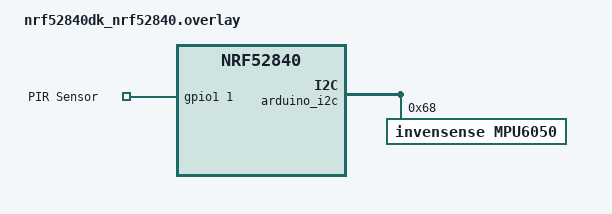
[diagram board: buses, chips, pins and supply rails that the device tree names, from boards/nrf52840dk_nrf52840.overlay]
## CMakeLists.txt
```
# SPDX-License-Identifier: MIT
cmake_minimum_required(VERSION 3.20)
find_package(Zephyr REQUIRED HINTS $ENV{ZEPHYR_BASE})
project(bthome_full_node)
target_sources(app PRIVATE src/main.c)
```

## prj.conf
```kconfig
# ── Bluetooth ──────────────────────────────────────────────────────────────
CONFIG_BT=y
CONFIG_BT_PERIPHERAL=y
CONFIG_BT_DEVICE_NAME="MAKE-BThome"

# ── BThome V2 library ───────────────────────────────────────────────────────
CONFIG_BTHOME_V2=y

# ── Sensor framework ────────────────────────────────────────────────────────
CONFIG_SENSOR=y
CONFIG_I2C=y

# ── nRF52 internal die-temperature sensor ───────────────────────────────────
CONFIG_TEMP_NRF5=y

# ── IMU: select ONE depending on hardware (see board-specific .conf files) ──
# CONFIG_MPU6050=y     # nRF52840-DK + MPU-6050 breakout
# CONFIG_LSM6DSL=y     # Seeed XIAO nRF52840 Sense (LSM6DS3 = LSM6DSL-compatible)

# ── GPIO ────────────────────────────────────────────────────────────────────
CONFIG_GPIO=y

# ── Logging ─────────────────────────────────────────────────────────────────
CONFIG_LOG=y
CONFIG_LOG_DEFAULT_LEVEL=3

# ── Stack sizes ─────────────────────────────────────────────────────────────
CONFIG_MAIN_STACK_SIZE=2048
CONFIG_BT_RX_STACK_SIZE=1024
```

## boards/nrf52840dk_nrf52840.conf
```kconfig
# nRF52840-DK board-specific config for bthome_full_node
# IMU: MPU-6050 breakout connected via Arduino-I2C header (SDA=P0.26, SCL=P0.27)
CONFIG_MPU6050=y
```

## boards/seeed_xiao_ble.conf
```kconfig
# Seeed XIAO nRF52840 board-specific config for bthome_full_node
#
# The XIAO nRF52840 has NO external 32.768 kHz crystal.
# Use the internal RC oscillator (LFRC) for BLE — mandatory!
CONFIG_CLOCK_CONTROL_NRF_K32SRC_RC=y
CONFIG_CLOCK_CONTROL_NRF_K32SRC_ACCURACY_500=y

# IMU: LSM6DS3 on XIAO Sense is LSM6DSL-compatible
# (only available on the "Sense" variant)
CONFIG_LSM6DSL=y
```

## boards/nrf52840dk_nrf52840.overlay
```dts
/* SPDX-License-Identifier: MIT */
/*
 * bthome_full_node overlay for nRF52840-DK
 *
 * Hardware assumptions:
 *   I2C IMU  : MPU-6050 breakout @ 0x68 on Arduino-I2C header
 *              (SDA = P0.26 / Arduino A4, SCL = P0.27 / Arduino A5)
 *   PIR GPIO : Signal pin → P1.01 (Arduino D0), power via 3.3 V header
 */

/* ── MPU-6050 on the Arduino-compatible I2C bus (i2c0) ─────────────────── */
&arduino_i2c {
	mpu6050: mpu6050@68 {
		compatible = "invensense,mpu6050";
		reg = <0x68>;
		status = "okay";
	};
};

/* ── PIR sensor GPIO ────────────────────────────────────────────────────── */
/ {
	pir_inputs: pir_inputs {
		compatible = "gpio-keys";
		pir0: pir_0 {
			gpios = <&gpio1 1 (GPIO_ACTIVE_HIGH | GPIO_PULL_DOWN)>;
			label = "PIR Sensor";
		};
	};

	aliases {
		imu       = &mpu6050;
		pir-sensor = &pir0;
	};
};
```

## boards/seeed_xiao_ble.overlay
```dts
/* SPDX-License-Identifier: MIT */
/*
 * bthome_full_node overlay for Seeed XIAO nRF52840 (and Sense variant)
 *
 * Hardware assumptions:
 *   I2C IMU  : LSM6DS3 (LSM6DSL-compatible) @ 0x6A on i2c0
 *              (SDA = P0.05, SCL = P0.04 — XIAO hardware I2C)
 *   PIR GPIO : Signal pin → P0.29 (XIAO pin D3), active-high with pull-down
 *
 * Note: The LSM6DS3 is only present on the "Sense" variant of the XIAO.
 *       On the plain XIAO nRF52840 (Plus), remove the lsm6dsl node and
 *       disable CONFIG_LSM6DSL in the board .conf.
 */

/* ── LSM6DS3 on i2c0 ────────────────────────────────────────────────────── */
&i2c0 {
	status = "okay";

	lsm6dsl: lsm6dsl@6a {
		compatible = "st,lsm6dsl";
		reg = <0x6a>;
		irq-gpios = <&gpio0 3 GPIO_ACTIVE_HIGH>;
		status = "okay";
	};
};

/* ── PIR sensor GPIO ────────────────────────────────────────────────────── */
/ {
	pir_inputs: pir_inputs {
		compatible = "gpio-keys";
		pir0: pir_0 {
			gpios = <&gpio0 29 (GPIO_ACTIVE_HIGH | GPIO_PULL_DOWN)>;
			label = "PIR Sensor";
		};
	};

	aliases {
		imu        = &lsm6dsl;
		pir-sensor = &pir0;
	};
};
```

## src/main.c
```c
/* SPDX-License-Identifier: MIT */
/*
 * Copyright (c) 2026 Daniel Glaser
 *
 * BThome V2 Full-Node Sample
 * ==========================
 * Combines three sensor sources into one BThome V2 BLE advertisement:
 *
 *  1. Die temperature   — nRF52840 internal temperature sensor (always present)
 *  2. 6-axis IMU        — MPU-6050 (nRF52840-DK) or LSM6DS3/LSM6DSL (XIAO Sense)
 *                         Advertises acceleration and gyroscope magnitude.
 *  3. PIR motion sensor — GPIO binary sensor (active-high, DT alias "pir-sensor")
 *
 * The device advertises a new BThome V2 packet every ADVERT_INTERVAL_SEC seconds.
 *
 * Build (nRF52840-DK with MPU-6050 breakout):
 *   west build -b nrf52840dk/nrf52840 samples/bthome_full_node
 *
 * Build (Seeed XIAO nRF52840 Sense):
 *   west build -b seeed_xiao_ble/nrf52840 samples/bthome_full_node
 *
 * Verify with bthome-logger:
 *   uv tool install bthome-logger && bthome-logger -f "MAKE"
 */

#include <zephyr/kernel.h>
#include <zephyr/logging/log.h>
#include <zephyr/bluetooth/bluetooth.h>
#include <zephyr/bluetooth/hci.h>
#include <zephyr/drivers/gpio.h>
#include <zephyr/drivers/sensor.h>

#include <bthome_v2/bthome_v2.h>

LOG_MODULE_REGISTER(bthome_node, LOG_LEVEL_INF);

/* ── Timing ──────────────────────────────────────────────────────────────── */
#define ADVERT_INTERVAL_SEC  10

/* ── BLE advertising parameters (non-connectable, undirected) ────────────── */
static const struct bt_le_adv_param adv_param =
	BT_LE_ADV_PARAM_INIT(BT_LE_ADV_OPT_USE_IDENTITY,
			     BT_GAP_ADV_SLOW_INT_MIN,
			     BT_GAP_ADV_SLOW_INT_MAX,
			     NULL);

/* ── BThome V2 context ───────────────────────────────────────────────────── */
static struct bthome_v2_ctx bthome;

/* ── Advertising data array (flags + complete name + service data) ─────────── */
static struct bt_data ad[3];

/* ── Packet counter (incremented each advertisement) ────────────────────── */
static uint8_t pkt_id;

/* ── Devices ─────────────────────────────────────────────────────────────── */

/* Internal die temperature sensor (always present on nRF52840) */
#if DT_HAS_COMPAT_STATUS_OKAY(nordic_nrf_temp)
static const struct device *die_temp_dev =
	DEVICE_DT_GET_ONE(nordic_nrf_temp);
#else
static const struct device *die_temp_dev;
#endif

/* IMU — resolved via DT alias "imu" set in board overlays */
#if DT_NODE_HAS_STATUS(DT_ALIAS(imu), okay)
static const struct device *imu_dev =
	DEVICE_DT_GET(DT_ALIAS(imu));
#define HAS_IMU 1
#else
static const struct device *imu_dev;
#define HAS_IMU 0
#endif

/* PIR sensor GPIO — resolved via DT alias "pir-sensor".
 * Note: DT_ALIAS() converts underscores to hyphens per Zephyr convention,
 * so DT_ALIAS(pir_sensor) correctly resolves the "pir-sensor" alias defined
 * in the board overlay files.
 */
#if DT_NODE_HAS_STATUS(DT_ALIAS(pir_sensor), okay)
static const struct gpio_dt_spec pir =
	GPIO_DT_SPEC_GET(DT_ALIAS(pir_sensor), gpios);
#define HAS_PIR 1
#else
#define HAS_PIR 0
#endif

/* ── Helpers ─────────────────────────────────────────────────────────────── */

/**
 * @brief Convert Zephyr sensor_value to BThome temperature (0.01 °C).
 *
 * sensor_value carries the integer part in .val1 and micro-fractions in .val2.
 * For temperature, .val2 is in µ°C (1/1 000 000 °C).
 * BThome 0x02 uses 0.01 °C → multiply val1 by 100, val2 by 100/1 000 000.
 */
static int16_t sv_to_temp_cdegc(const struct sensor_value *sv)
{
	return (int16_t)(sv->val1 * 100 + sv->val2 / 10000);
}

/**
 * @brief Convert Zephyr sensor_value acceleration (m/s²) to BThome unit
 *        (0.001 m/s² → store as mm/s²).
 */
static uint16_t sv_to_accel_mms2(const struct sensor_value *sv)
{
	int32_t mm = sv->val1 * 1000 + sv->val2 / 1000;

	return (uint16_t)(mm < 0 ? -mm : mm);
}

/**
 * @brief Convert Zephyr sensor_value gyroscope (rad/s) to BThome unit
 *        (0.001 °/s).
 *
 * Zephyr gyro channels use rad/s.  BThome 0x52 uses 0.001 °/s.
 * 1 rad/s ≈ 57295 m°/s → scale val1 and val2 accordingly.
 */
static uint16_t sv_to_gyro_mdegps(const struct sensor_value *sv)
{
	/* Convert rad/s → m°/s: multiply by 57295 (= 1000 * 180/π) */
	int32_t mdeg = sv->val1 * 57295 + (int32_t)(sv->val2 / 1000) * 57 / 1000;

	return (uint16_t)(mdeg < 0 ? -mdeg : mdeg);
}

/* ── Sensor read & advertise ─────────────────────────────────────────────── */

static void update_advertisement(void)
{
	int ret;

	bthome_v2_clear(&bthome);
	bthome_v2_add_packet_id(&bthome, pkt_id++);

	/* ── 1. Die temperature ─────────────────────────────────────────── */
	if (die_temp_dev && device_is_ready(die_temp_dev)) {
		struct sensor_value temp_sv;

		ret = sensor_sample_fetch(die_temp_dev);
		if (ret == 0) {
			ret = sensor_channel_get(die_temp_dev,
						 SENSOR_CHAN_DIE_TEMP,
						 &temp_sv);
		}
		if (ret == 0) {
			int16_t temp = sv_to_temp_cdegc(&temp_sv);

			bthome_v2_add_temperature(&bthome, temp);
			LOG_INF("Die temp: %d.%02d °C",
				temp / 100, (int)(temp < 0 ? -temp : temp) % 100);
		} else {
			LOG_WRN("Die temp read failed: %d", ret);
		}
	}

	/* ── 2. IMU ─────────────────────────────────────────────────────── */
#if HAS_IMU
	if (imu_dev && device_is_ready(imu_dev)) {
		struct sensor_value accel[3];
		struct sensor_value gyro[3];

		ret = sensor_sample_fetch(imu_dev);
		if (ret == 0) {
			ret = sensor_channel_get(imu_dev,
						 SENSOR_CHAN_ACCEL_XYZ, accel);
		}
		if (ret == 0) {
			ret = sensor_channel_get(imu_dev,
						 SENSOR_CHAN_GYRO_XYZ, gyro);
		}

		if (ret == 0) {
			/* Advertise X-axis acceleration and Z-axis gyro as
			 * representative single-axis values.  Home Assistant
			 * will show them as individual sensor entities. */
			uint16_t ax = sv_to_accel_mms2(&accel[0]);
			uint16_t gz = sv_to_gyro_mdegps(&gyro[2]);

			bthome_v2_add_acceleration(&bthome, ax);
			bthome_v2_add_gyroscope(&bthome, gz);

			LOG_INF("IMU accel_x: %u mm/s²  gyro_z: %u m°/s",
				ax, gz);
		} else {
			LOG_WRN("IMU read failed: %d", ret);
		}
	}
#endif /* HAS_IMU */

	/* ── 3. PIR ─────────────────────────────────────────────────────── */
#if HAS_PIR
	if (gpio_is_ready_dt(&pir)) {
		int pir_state = gpio_pin_get_dt(&pir);

		if (pir_state >= 0) {
			bthome_v2_add_binary(&bthome, BTHOME_OBJ_MOTION,
					     pir_state != 0);
			LOG_INF("PIR: %s", pir_state ? "DETECTED" : "clear");
		} else {
			LOG_WRN("PIR read failed: %d", pir_state);
		}
	}
#endif /* HAS_PIR */

	/* ── Encode & update advertising ─────────────────────────────────── */
	ret = bthome_v2_encode(&bthome);
	if (ret < 0) {
		LOG_ERR("BThome encode failed: %d", ret);
		return;
	}

ret = bthome_v2_get_bt_data(&bthome, &ad[2]);
	if (ret < 0) {
		LOG_ERR("bthome_v2_get_bt_data failed: %d", ret);
		return;
	}

	ret = bt_le_adv_update_data(ad, ARRAY_SIZE(ad), NULL, 0);
	if (ret < 0) {
		LOG_ERR("BLE adv update failed: %d", ret);
	}
}

/* ── Main ────────────────────────────────────────────────────────────────── */

int main(void)
{
	int ret;

	LOG_INF("BThome V2 Full-Node starting");

	/* ── Initialise GPIO (PIR) ──────────────────────────────────────── */
#if HAS_PIR
	if (!gpio_is_ready_dt(&pir)) {
		LOG_ERR("PIR GPIO device not ready");
	} else {
		ret = gpio_pin_configure_dt(&pir, GPIO_INPUT);
		if (ret < 0) {
			LOG_ERR("PIR GPIO configure failed: %d", ret);
		}
	}
#endif

	/* ── Initialise BThome V2 context ───────────────────────────────── */
	bthome_v2_init(&bthome, false, false);

	/* ── Build initial advertising data (flags + name + service data) ─ */
	ad[0] = (struct bt_data)
		BT_DATA_BYTES(BT_DATA_FLAGS,
			      BT_LE_AD_GENERAL | BT_LE_AD_NO_BREDR);
	ad[1] = (struct bt_data)
		BT_DATA(BT_DATA_NAME_COMPLETE,
			CONFIG_BT_DEVICE_NAME,
			sizeof(CONFIG_BT_DEVICE_NAME) - 1);

	/* Populate ad[2] with an initial encode so we have valid data
	 * before calling bt_le_adv_start().                            */
	bthome_v2_add_packet_id(&bthome, 0);
	bthome_v2_encode(&bthome);
	bthome_v2_get_bt_data(&bthome, &ad[2]);
	bthome_v2_clear(&bthome);

	/* ── Enable Bluetooth ───────────────────────────────────────────── */
	ret = bt_enable(NULL);
	if (ret) {
		LOG_ERR("bt_enable failed: %d", ret);
		return ret;
	}
	LOG_INF("Bluetooth enabled");

	/* ── Start advertising ──────────────────────────────────────────── */
	ret = bt_le_adv_start(&adv_param, ad, ARRAY_SIZE(ad), NULL, 0);
	if (ret) {
		LOG_ERR("bt_le_adv_start failed: %d", ret);
		return ret;
	}
	LOG_INF("Advertising started (interval ~%d ms)",
		BT_GAP_ADV_SLOW_INT_MIN * 625 / 1000);

	/* ── Main loop ──────────────────────────────────────────────────── */
	while (true) {
		update_advertisement();
		k_sleep(K_SECONDS(ADVERT_INTERVAL_SEC));
	}

	return 0;
}
```
